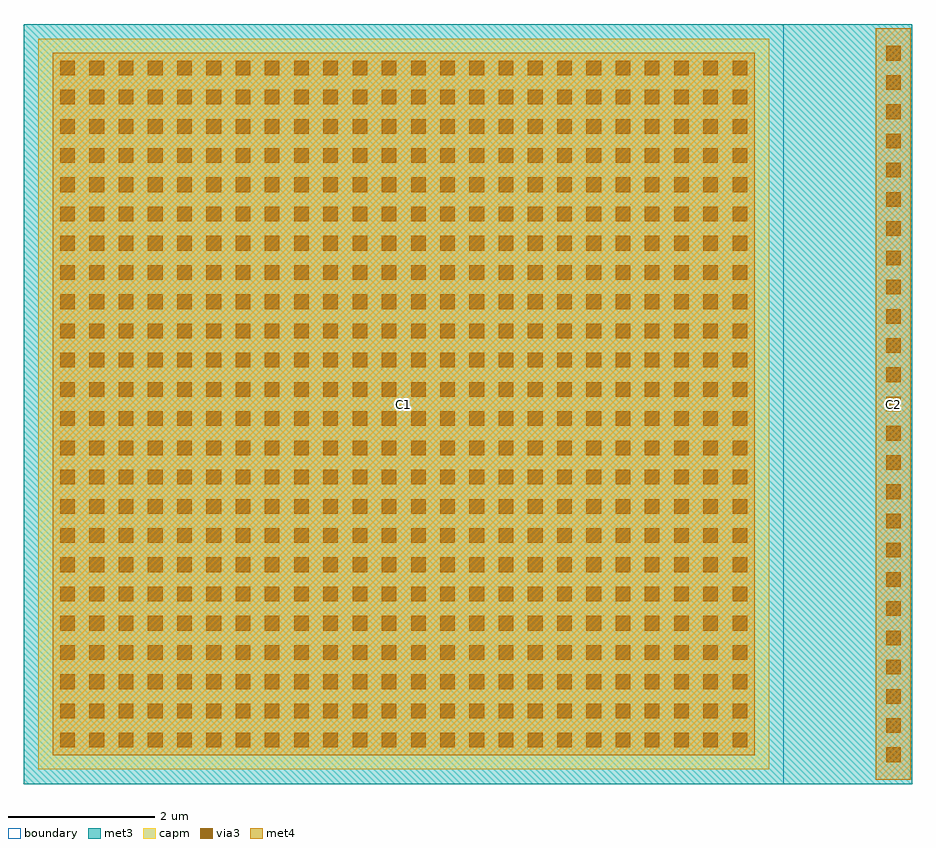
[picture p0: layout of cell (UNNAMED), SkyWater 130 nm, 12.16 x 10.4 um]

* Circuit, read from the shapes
.subckt (UNNAMED) C1 C2
XC1 C1 C2 sky130_fd_pr__cap_mim_m3_1 w=10 l=10
.ends

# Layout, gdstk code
import gdstk
lib = gdstk.Library(unit=1e-6, precision=1e-09)
def R(c, l, rs):  # rectangles x0, y0, x1, y1
    for r in rs: c.add(gdstk.rectangle(r[:2], r[2:], *l))
def A(c, l, x, y, w, h, nx, ny, dx, dy):  # array of equal rectangles
    R(c, l, [(x+i*dx, y+j*dy, x+i*dx+w, y+j*dy+h) for i in range(nx) for j in range(ny)])
met3 = (70, 20)
via3 = (70, 44)
met4 = (71, 20)
capm = (89, 44)
boundary = (235, 4)

c__unnamed_ = lib.new_cell('(UNNAMED)')
R(c__unnamed_, met3, [(-6.08,-5.2,6.08,5.2)])
A(c__unnamed_, via3, 5.72, -4.9, 0.2, 0.2, 1, 25, 0, 0.4)
A(c__unnamed_, via3, -5.58, -4.7, 0.2, 0.2, 24, 24, 0.4, 0.4)
R(c__unnamed_, met4, [(5.58,-5.14,6.06,5.14), (-5.685,-4.805,3.925,4.805)])
R(c__unnamed_, capm, [(-5.88,-5,4.12,5)])
R(c__unnamed_, boundary, [(-6.08,-5.2,4.32,5.2)])
c__unnamed_.add(gdstk.Label('C2', (5.82,0), layer=71, texttype=5))
c__unnamed_.add(gdstk.Label('C1', (-0.88,0), layer=71, texttype=5))

lib.write_gds('_UNNAMED_.gds')
